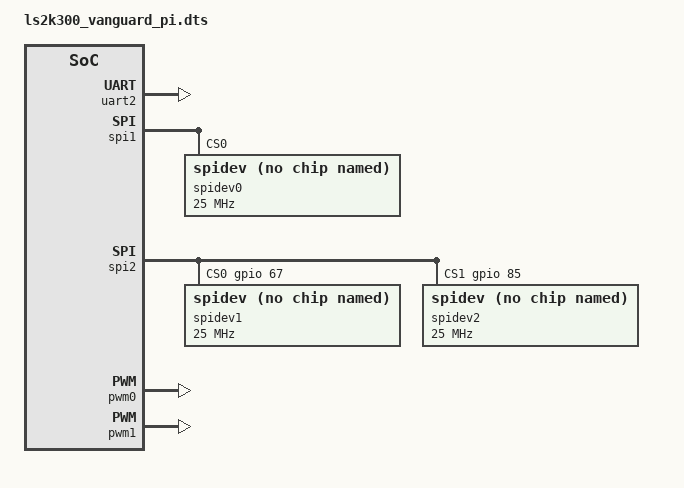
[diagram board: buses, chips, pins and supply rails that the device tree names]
#include <dt-bindings/gpio/gpio.h>
#include <dt-bindings/pwm/pwm.h>
#include <dt-bindings/input/linux-event-codes.h>
#include <dt-bindings/interrupt-controller/irq.h>

#include "ls2k300_vanguard_pi_common.dtsi"

&uart2 {
	status = "ok";
};

&uart5 {
	status = "disabled";
};

&uart6 {
	status = "disabled";
};

&uart7 {
	status = "disabled";
};

&uart8 {
	status = "disabled";
};

&spi1 {
	status = "okay";

	spidev0@0 {
		compatible = "rohm,dh2228fv";
		reg = <0>;
		spi-max-frequency = <25000000>;
	};
};

&spi2 {
	status = "ok";
	pinctrl-0 = <&spi2_cs_as_gpio>;
	pinctrl-names = "default";
	num-chipselects = <2>;
	cs-gpios = <&gpio 67 0>,
			<&gpio 85 0>;

	spidev1@0 {
		compatible = "rohm,dh2228fv";
		reg = <0>;
		spi-max-frequency = <25000000>;
	};
	spidev2@1 {
		compatible = "rohm,dh2228fv";
		reg = <1>;
		spi-max-frequency = <25000000>;
	};
};

&can0 {
	status = "disabled";
};

&can1 {
	status = "disabled";
};

&can2 {
	status = "disabled";
};

&can3 {
	status = "disabled";
};

&pwm0 {
	status = "okay";
};

&pwm1 {
	status = "okay";
};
